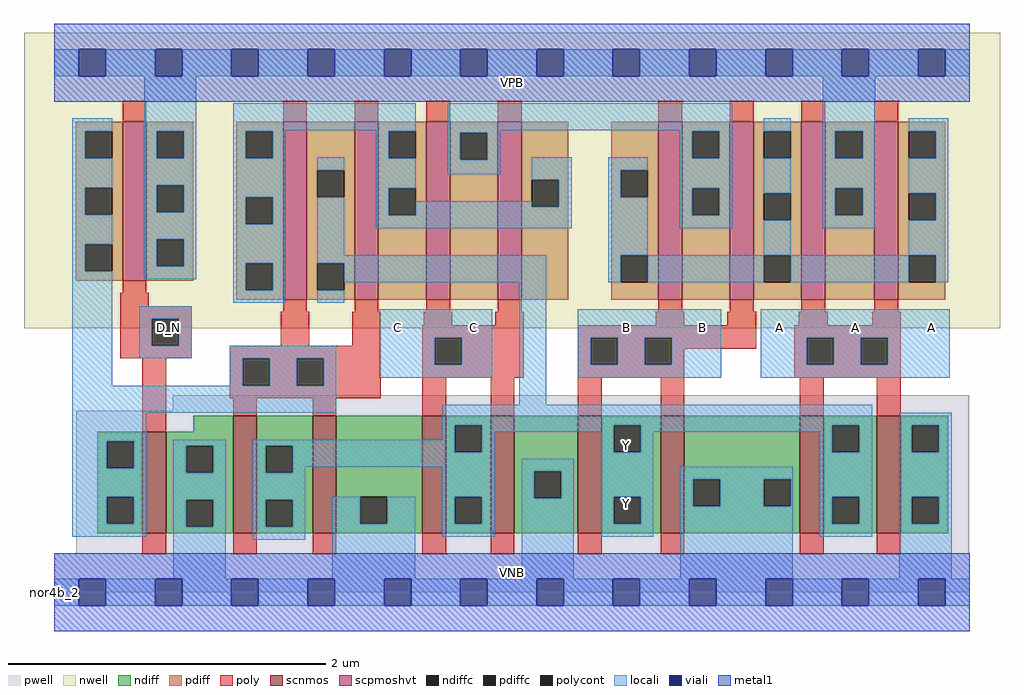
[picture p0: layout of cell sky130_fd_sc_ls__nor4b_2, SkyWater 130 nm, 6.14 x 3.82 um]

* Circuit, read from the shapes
.subckt sky130_fd_sc_ls__nor4b_2 A B C D_N VGND VNB VPB VPWR Y
XM1 VGND D_N n1 VNB sky130_fd_pr__nfet_01v8 w=0.64 l=0.15
XM2 Y n1 VGND VNB sky130_fd_pr__nfet_01v8 w=0.74 l=0.15 m=2
XM3 Y C VGND VNB sky130_fd_pr__nfet_01v8 w=0.74 l=0.15 m=2
XM4 Y B VGND VNB sky130_fd_pr__nfet_01v8 w=0.74 l=0.15 m=2
XM5 Y A VGND VNB sky130_fd_pr__nfet_01v8 w=0.74 l=0.15 m=2
XM6 VPWR D_N n1 VPB sky130_fd_pr__pfet_01v8_hvt w=1 l=0.15
XM7 Y n1 n2 VPB sky130_fd_pr__pfet_01v8_hvt w=1.12 l=0.15 m=2
XM8 n3 C n2 VPB sky130_fd_pr__pfet_01v8_hvt w=1.12 l=0.15 m=2
XM9 n3 B n4 VPB sky130_fd_pr__pfet_01v8_hvt w=1.12 l=0.15 m=2
XM10 VPWR A n4 VPB sky130_fd_pr__pfet_01v8_hvt w=1.12 l=0.15 m=2
.ends

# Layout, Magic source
magic
tech sky130A
magscale 1 2
<< nwell >>
rect -38 332 1190 704
<< pwell >>
rect 149 228 1151 248
rect 28 49 1151 228
rect 0 0 1152 49
<< scnmos >>
rect 111 74 141 202
rect 225 74 255 222
rect 325 74 355 222
rect 463 74 493 222
rect 549 74 579 222
rect 659 74 689 222
rect 763 74 793 222
rect 938 74 968 222
rect 1035 74 1065 222
<< scpmoshvt >>
rect 86 392 116 592
rect 288 368 318 592
rect 378 368 408 592
rect 468 368 498 592
rect 558 368 588 592
rect 760 368 790 592
rect 850 368 880 592
rect 940 368 970 592
rect 1032 368 1062 592
<< ndiff >>
rect 175 202 225 222
rect 54 190 111 202
rect 54 156 66 190
rect 100 156 111 190
rect 54 120 111 156
rect 54 86 66 120
rect 100 86 111 120
rect 54 74 111 86
rect 141 184 225 202
rect 141 150 166 184
rect 200 150 225 184
rect 141 116 225 150
rect 141 82 166 116
rect 200 82 225 116
rect 141 74 225 82
rect 255 184 325 222
rect 255 150 266 184
rect 300 150 325 184
rect 255 116 325 150
rect 255 82 266 116
rect 300 82 325 116
rect 255 74 325 82
rect 355 120 463 222
rect 355 86 385 120
rect 419 86 463 120
rect 355 74 463 86
rect 493 210 549 222
rect 493 176 504 210
rect 538 176 549 210
rect 493 120 549 176
rect 493 86 504 120
rect 538 86 549 120
rect 493 74 549 86
rect 579 152 659 222
rect 579 118 604 152
rect 638 118 659 152
rect 579 74 659 118
rect 689 210 763 222
rect 689 176 704 210
rect 738 176 763 210
rect 689 120 763 176
rect 689 86 704 120
rect 738 86 763 120
rect 689 74 763 86
rect 793 142 938 222
rect 793 108 804 142
rect 838 108 893 142
rect 927 108 938 142
rect 793 74 938 108
rect 968 210 1035 222
rect 968 176 979 210
rect 1013 176 1035 210
rect 968 120 1035 176
rect 968 86 979 120
rect 1013 86 1035 120
rect 968 74 1035 86
rect 1065 210 1125 222
rect 1065 176 1079 210
rect 1113 176 1125 210
rect 1065 120 1125 176
rect 1065 86 1079 120
rect 1113 86 1125 120
rect 1065 74 1125 86
<< pdiff >>
rect 27 580 86 592
rect 27 546 39 580
rect 73 546 86 580
rect 27 509 86 546
rect 27 475 39 509
rect 73 475 86 509
rect 27 438 86 475
rect 27 404 39 438
rect 73 404 86 438
rect 27 392 86 404
rect 116 580 175 592
rect 116 546 129 580
rect 163 546 175 580
rect 116 512 175 546
rect 116 478 129 512
rect 163 478 175 512
rect 116 444 175 478
rect 116 410 129 444
rect 163 410 175 444
rect 116 392 175 410
rect 229 580 288 592
rect 229 546 241 580
rect 275 546 288 580
rect 229 497 288 546
rect 229 463 241 497
rect 275 463 288 497
rect 229 414 288 463
rect 229 380 241 414
rect 275 380 288 414
rect 229 368 288 380
rect 318 531 378 592
rect 318 497 331 531
rect 365 497 378 531
rect 318 414 378 497
rect 318 380 331 414
rect 365 380 378 414
rect 318 368 378 380
rect 408 580 468 592
rect 408 546 421 580
rect 455 546 468 580
rect 408 508 468 546
rect 408 474 421 508
rect 455 474 468 508
rect 408 368 468 474
rect 498 578 558 592
rect 498 544 511 578
rect 545 544 558 578
rect 498 368 558 544
rect 588 519 647 592
rect 588 485 601 519
rect 635 485 647 519
rect 588 368 647 485
rect 701 531 760 592
rect 701 497 713 531
rect 747 497 760 531
rect 701 424 760 497
rect 701 390 713 424
rect 747 390 760 424
rect 701 368 760 390
rect 790 580 850 592
rect 790 546 803 580
rect 837 546 850 580
rect 790 508 850 546
rect 790 474 803 508
rect 837 474 850 508
rect 790 368 850 474
rect 880 580 940 592
rect 880 546 893 580
rect 927 546 940 580
rect 880 502 940 546
rect 880 468 893 502
rect 927 468 940 502
rect 880 424 940 468
rect 880 390 893 424
rect 927 390 940 424
rect 880 368 940 390
rect 970 580 1032 592
rect 970 546 983 580
rect 1017 546 1032 580
rect 970 508 1032 546
rect 970 474 983 508
rect 1017 474 1032 508
rect 970 368 1032 474
rect 1062 580 1121 592
rect 1062 546 1075 580
rect 1109 546 1121 580
rect 1062 502 1121 546
rect 1062 468 1075 502
rect 1109 468 1121 502
rect 1062 424 1121 468
rect 1062 390 1075 424
rect 1109 390 1121 424
rect 1062 368 1121 390
<< ndiffc >>
rect 66 156 100 190
rect 66 86 100 120
rect 166 150 200 184
rect 166 82 200 116
rect 266 150 300 184
rect 266 82 300 116
rect 385 86 419 120
rect 504 176 538 210
rect 504 86 538 120
rect 604 118 638 152
rect 704 176 738 210
rect 704 86 738 120
rect 804 108 838 142
rect 893 108 927 142
rect 979 176 1013 210
rect 979 86 1013 120
rect 1079 176 1113 210
rect 1079 86 1113 120
<< pdiffc >>
rect 39 546 73 580
rect 39 475 73 509
rect 39 404 73 438
rect 129 546 163 580
rect 129 478 163 512
rect 129 410 163 444
rect 241 546 275 580
rect 241 463 275 497
rect 241 380 275 414
rect 331 497 365 531
rect 331 380 365 414
rect 421 546 455 580
rect 421 474 455 508
rect 511 544 545 578
rect 601 485 635 519
rect 713 497 747 531
rect 713 390 747 424
rect 803 546 837 580
rect 803 474 837 508
rect 893 546 927 580
rect 893 468 927 502
rect 893 390 927 424
rect 983 546 1017 580
rect 983 474 1017 508
rect 1075 546 1109 580
rect 1075 468 1109 502
rect 1075 390 1109 424
<< poly >>
rect 86 592 116 618
rect 288 592 318 618
rect 378 592 408 618
rect 468 592 498 618
rect 558 592 588 618
rect 760 592 790 618
rect 850 592 880 618
rect 940 592 970 618
rect 1032 592 1062 618
rect 86 377 116 392
rect 83 360 119 377
rect 83 344 173 360
rect 288 353 318 368
rect 378 353 408 368
rect 468 353 498 368
rect 558 353 588 368
rect 760 353 790 368
rect 850 353 880 368
rect 940 353 970 368
rect 1032 353 1062 368
rect 83 310 123 344
rect 157 310 173 344
rect 285 310 321 353
rect 375 310 411 353
rect 465 336 501 353
rect 555 336 591 353
rect 757 336 793 353
rect 847 336 883 353
rect 937 336 973 353
rect 1029 336 1065 353
rect 83 294 173 310
rect 221 294 411 310
rect 111 202 141 294
rect 221 260 237 294
rect 271 260 305 294
rect 339 260 411 294
rect 221 244 411 260
rect 463 320 591 336
rect 463 286 479 320
rect 513 286 591 320
rect 463 270 591 286
rect 659 320 883 336
rect 659 286 675 320
rect 709 286 743 320
rect 777 306 883 320
rect 931 320 1065 336
rect 777 286 793 306
rect 659 270 793 286
rect 931 286 947 320
rect 981 286 1015 320
rect 1049 286 1065 320
rect 931 270 1065 286
rect 225 222 255 244
rect 325 222 355 244
rect 463 222 493 270
rect 549 222 579 270
rect 659 222 689 270
rect 763 222 793 270
rect 938 222 968 270
rect 1035 222 1065 270
rect 111 48 141 74
rect 225 48 255 74
rect 325 48 355 74
rect 463 48 493 74
rect 549 48 579 74
rect 659 48 689 74
rect 763 48 793 74
rect 938 48 968 74
rect 1035 48 1065 74
<< polycont >>
rect 123 310 157 344
rect 237 260 271 294
rect 305 260 339 294
rect 479 286 513 320
rect 675 286 709 320
rect 743 286 777 320
rect 947 286 981 320
rect 1015 286 1049 320
<< locali >>
rect 0 649 31 683
rect 65 649 127 683
rect 161 649 223 683
rect 257 649 319 683
rect 353 649 415 683
rect 449 649 511 683
rect 545 649 607 683
rect 641 649 703 683
rect 737 649 799 683
rect 833 649 895 683
rect 929 649 991 683
rect 1025 649 1087 683
rect 1121 649 1152 683
rect 23 580 73 596
rect 23 546 39 580
rect 23 509 73 546
rect 23 475 39 509
rect 23 438 73 475
rect 23 404 39 438
rect 23 260 73 404
rect 113 580 179 649
rect 113 546 129 580
rect 163 546 179 580
rect 113 512 179 546
rect 113 478 129 512
rect 163 478 179 512
rect 113 444 179 478
rect 113 410 129 444
rect 163 410 179 444
rect 113 394 179 410
rect 225 581 455 615
rect 225 580 291 581
rect 225 546 241 580
rect 275 546 291 580
rect 405 580 455 581
rect 225 497 291 546
rect 225 463 241 497
rect 275 463 291 497
rect 225 414 291 463
rect 225 380 241 414
rect 275 380 291 414
rect 225 364 291 380
rect 331 531 365 547
rect 331 424 365 497
rect 405 546 421 580
rect 405 508 455 546
rect 495 581 853 615
rect 495 578 561 581
rect 495 544 511 578
rect 545 544 561 578
rect 787 580 853 581
rect 495 526 561 544
rect 405 474 421 508
rect 601 519 651 547
rect 455 485 601 492
rect 635 485 651 519
rect 455 474 651 485
rect 405 458 651 474
rect 697 531 747 547
rect 697 497 713 531
rect 697 424 747 497
rect 787 546 803 580
rect 837 546 853 580
rect 787 508 853 546
rect 787 474 803 508
rect 837 474 853 508
rect 787 458 853 474
rect 893 580 927 596
rect 893 502 927 546
rect 893 424 927 468
rect 967 580 1033 649
rect 967 546 983 580
rect 1017 546 1033 580
rect 967 508 1033 546
rect 967 474 983 508
rect 1017 474 1033 508
rect 967 458 1033 474
rect 1075 580 1125 596
rect 1109 546 1125 580
rect 1075 502 1125 546
rect 1109 468 1125 502
rect 1075 424 1125 468
rect 331 414 619 424
rect 365 390 619 414
rect 697 390 713 424
rect 747 390 893 424
rect 927 390 1075 424
rect 1109 390 1125 424
rect 331 364 365 380
rect 107 344 173 360
rect 107 310 123 344
rect 157 310 173 344
rect 409 320 551 356
rect 107 294 173 310
rect 221 294 355 310
rect 221 260 237 294
rect 271 260 305 294
rect 339 260 355 294
rect 409 286 479 320
rect 513 286 551 320
rect 409 270 551 286
rect 23 226 355 260
rect 585 236 619 390
rect 659 320 839 356
rect 659 286 675 320
rect 709 286 743 320
rect 777 286 839 320
rect 659 270 839 286
rect 889 320 1127 356
rect 889 286 947 320
rect 981 286 1015 320
rect 1049 286 1127 320
rect 889 270 1127 286
rect 23 190 116 226
rect 488 210 1029 236
rect 488 192 504 210
rect 23 156 66 190
rect 100 156 116 190
rect 23 120 116 156
rect 23 86 66 120
rect 100 86 116 120
rect 23 70 116 86
rect 150 184 216 192
rect 150 150 166 184
rect 200 150 216 184
rect 150 116 216 150
rect 150 82 166 116
rect 200 82 216 116
rect 150 17 216 82
rect 250 184 504 192
rect 250 150 266 184
rect 300 176 504 184
rect 538 202 704 210
rect 538 176 554 202
rect 300 158 554 176
rect 688 176 704 202
rect 738 202 979 210
rect 738 176 754 202
rect 300 150 316 158
rect 250 116 316 150
rect 488 120 554 158
rect 250 82 266 116
rect 300 82 316 116
rect 250 66 316 82
rect 350 86 385 120
rect 419 86 454 120
rect 350 17 454 86
rect 488 86 504 120
rect 538 86 554 120
rect 488 70 554 86
rect 588 152 654 168
rect 588 118 604 152
rect 638 118 654 152
rect 588 17 654 118
rect 688 120 754 176
rect 963 176 979 202
rect 1013 176 1029 210
rect 688 86 704 120
rect 738 86 754 120
rect 688 70 754 86
rect 788 142 929 158
rect 788 108 804 142
rect 838 108 893 142
rect 927 108 929 142
rect 788 17 929 108
rect 963 120 1029 176
rect 963 86 979 120
rect 1013 86 1029 120
rect 963 70 1029 86
rect 1063 210 1129 226
rect 1063 176 1079 210
rect 1113 176 1129 210
rect 1063 120 1129 176
rect 1063 86 1079 120
rect 1113 86 1129 120
rect 1063 17 1129 86
rect 0 -17 31 17
rect 65 -17 127 17
rect 161 -17 223 17
rect 257 -17 319 17
rect 353 -17 415 17
rect 449 -17 511 17
rect 545 -17 607 17
rect 641 -17 703 17
rect 737 -17 799 17
rect 833 -17 895 17
rect 929 -17 991 17
rect 1025 -17 1087 17
rect 1121 -17 1152 17
<< viali >>
rect 31 649 65 683
rect 127 649 161 683
rect 223 649 257 683
rect 319 649 353 683
rect 415 649 449 683
rect 511 649 545 683
rect 607 649 641 683
rect 703 649 737 683
rect 799 649 833 683
rect 895 649 929 683
rect 991 649 1025 683
rect 1087 649 1121 683
rect 31 -17 65 17
rect 127 -17 161 17
rect 223 -17 257 17
rect 319 -17 353 17
rect 415 -17 449 17
rect 511 -17 545 17
rect 607 -17 641 17
rect 703 -17 737 17
rect 799 -17 833 17
rect 895 -17 929 17
rect 991 -17 1025 17
rect 1087 -17 1121 17
<< metal1 >>
rect 0 683 1152 715
rect 0 649 31 683
rect 65 649 127 683
rect 161 649 223 683
rect 257 649 319 683
rect 353 649 415 683
rect 449 649 511 683
rect 545 649 607 683
rect 641 649 703 683
rect 737 649 799 683
rect 833 649 895 683
rect 929 649 991 683
rect 1025 649 1087 683
rect 1121 649 1152 683
rect 0 617 1152 649
rect 0 17 1152 49
rect 0 -17 31 17
rect 65 -17 127 17
rect 161 -17 223 17
rect 257 -17 319 17
rect 353 -17 415 17
rect 449 -17 511 17
rect 545 -17 607 17
rect 641 -17 703 17
rect 737 -17 799 17
rect 833 -17 895 17
rect 929 -17 991 17
rect 1025 -17 1087 17
rect 1121 -17 1152 17
rect 0 -49 1152 -17
<< labels >>
rlabel comment s 0 0 0 0 4 nor4b_2
flabel pwell s 0 0 1152 49 0 FreeSans 200 0 0 0 VNB
port 6 nsew ground bidirectional
flabel nwell s 0 617 1152 666 0 FreeSans 200 0 0 0 VPB
port 7 nsew power bidirectional
flabel metal1 s 0 617 1152 666 0 FreeSans 340 0 0 0 VPWR
port 8 nsew power bidirectional abutment
flabel metal1 s 0 0 1152 49 0 FreeSans 340 0 0 0 VGND
port 5 nsew ground bidirectional abutment
flabel locali s 895 316 929 350 0 FreeSans 340 0 0 0 A
port 1 nsew signal input
flabel locali s 991 316 1025 350 0 FreeSans 340 0 0 0 A
port 1 nsew signal input
flabel locali s 1087 316 1121 350 0 FreeSans 340 0 0 0 A
port 1 nsew signal input
flabel locali s 703 316 737 350 0 FreeSans 340 0 0 0 B
port 2 nsew signal input
flabel locali s 799 316 833 350 0 FreeSans 340 0 0 0 B
port 2 nsew signal input
flabel locali s 415 316 449 350 0 FreeSans 340 0 0 0 C
port 3 nsew signal input
flabel locali s 511 316 545 350 0 FreeSans 340 0 0 0 C
port 3 nsew signal input
flabel locali s 127 316 161 350 0 FreeSans 340 0 0 0 D_N
port 4 nsew signal input
flabel locali s 703 94 737 128 0 FreeSans 340 0 0 0 Y
port 9 nsew signal output
flabel locali s 703 168 737 202 0 FreeSans 340 0 0 0 Y
port 9 nsew signal output
<< properties >>
string LEFsite unit
string LEFclass CORE
string FIXED_BBOX 0 0 1152 666
string GDS_FILE $PDKPATH/libs.ref/sky130_fd_sc_ls/gds/sky130_fd_sc_ls.gds
string LEFsymmetry X Y
string GDS_END 1169288
string GDS_START 1159068
<< end >>
